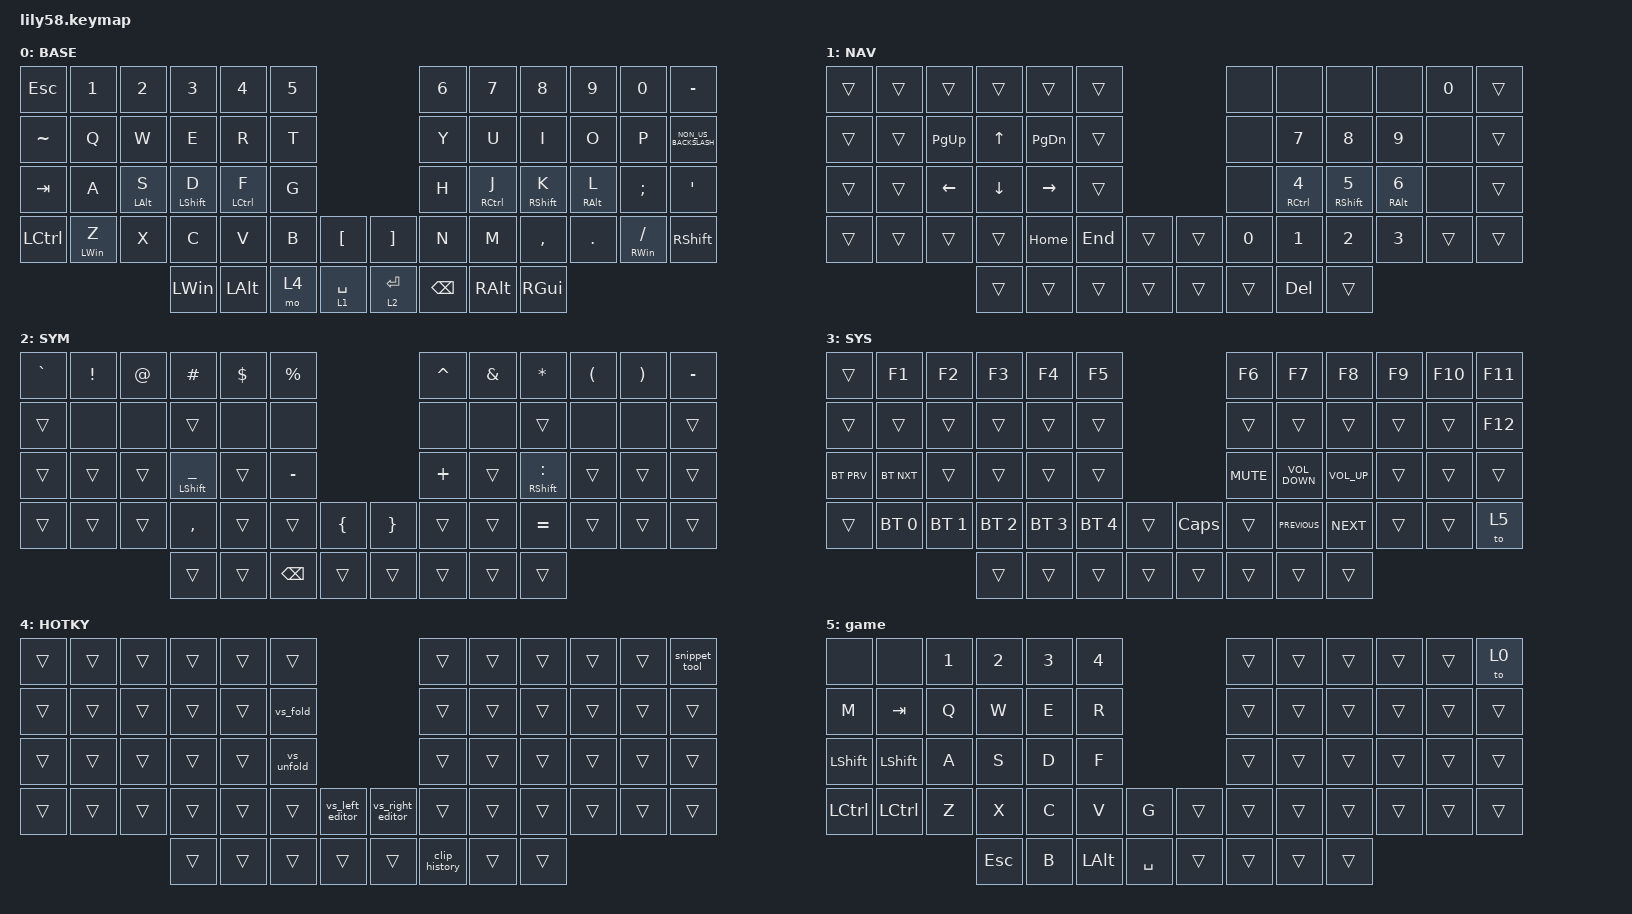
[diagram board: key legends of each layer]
/*
 * Copyright (c) 2020 The ZMK Contributors
 *
 * SPDX-License-Identifier: MIT
 */

#include <behaviors.dtsi>
#include <dt-bindings/zmk/bt.h>
#include <dt-bindings/zmk/keys.h>

#define default_layer 0
#define lower_layer 1
#define raise_layer 2
#define adjust_layer 3
#define extra_layer 4

/ {
    behaviors {
        hm: homerow_mods {
            compatible = "zmk,behavior-hold-tap";
            label = "HOMEROW_MODS";
            bindings = <&kp>, <&kp>;

            #binding-cells = <2>;
            tapping-term-ms = <300>;
            quick-tap-ms = <200>;
            require-prior-idle-ms = <90>;
            flavor = "balanced";
        };

        hm_shift_l: hm_shift_l {
            compatible = "zmk,behavior-hold-tap";
            label = "HM_SHIFT_L";
            bindings = <&kp>, <&kp>;

            #binding-cells = <2>;
            tapping-term-ms = <190>;
            quick-tap-ms = <150>;
            require-prior-idle-ms = <100>;
            flavor = "tap-preferred";
        };

        hm_shift_r: hm_shift_r {
            compatible = "zmk,behavior-hold-tap";
            label = "HM_SHIFT_R";
            bindings = <&kp>, <&kp>;

            #binding-cells = <2>;
            tapping-term-ms = <190>;
            quick-tap-ms = <150>;
            require-prior-idle-ms = <100>;
            flavor = "tap-preferred";
        };
    };

    combos {
        compatible = "zmk,combos";

        esc {
            bindings = <&kp ESCAPE>;
            key-positions = <42 43 53 54>;
        };

        bth_clear {
            bindings = <&bt BT_CLR>;
            key-positions = <50 51 52 53 54 55 56 57>;
        };

        c1 {
            bindings = <&kp LEFT_PARENTHESIS>;
            key-positions = <45 46>;
        };

        c2 {
            bindings = <&kp RIGHT_PARENTHESIS>;
            key-positions = <46 47>;
        };
    };

    macros {
        clip_history: clip_history {
            compatible = "zmk,behavior-macro";
            #binding-cells = <0>;
            bindings =
                <&macro_press>,
                <&kp LEFT_WIN>,
                <&macro_tap>,
                <&kp V>,
                <&macro_release>,
                <&kp LEFT_WIN>;

            label = "CLIP_HISTORY";
        };

        vs_left_editor: vs_left_editor {
            compatible = "zmk,behavior-macro";
            #binding-cells = <0>;
            bindings =
                <&macro_press>,
                <&kp LCTRL>,
                <&macro_tap>,
                <&kp K>,
                <&macro_tap>,
                <&kp LEFT_ARROW>,
                <&macro_release>,
                <&kp LEFT_CONTROL>;

            label = "VS_LEFT_EDITOR";
        };

        vs_right_editor: vs_right_editor {
            compatible = "zmk,behavior-macro";
            #binding-cells = <0>;
            bindings =
                <&macro_press>,
                <&kp LCTRL>,
                <&macro_tap>,
                <&kp K>,
                <&macro_tap>,
                <&kp RIGHT>,
                <&macro_release>,
                <&kp LEFT_CONTROL>;

            label = "VS_RIGHT_EDITOR";
        };

        vs_fold: vs_fold {
            compatible = "zmk,behavior-macro";
            #binding-cells = <0>;
            bindings =
                <&macro_press>,
                <&kp LCTRL &kp LEFT_SHIFT>,
                <&macro_tap>,
                <&kp LEFT_BRACKET>,
                <&macro_release>,
                <&kp LEFT_CONTROL &kp LEFT_SHIFT>;

            label = "VS_FOLD";
        };

        vs_unfold: vs_unfold {
            compatible = "zmk,behavior-macro";
            #binding-cells = <0>;
            bindings =
                <&macro_press>,
                <&kp LCTRL &kp LEFT_SHIFT>,
                <&macro_tap>,
                <&kp RIGHT_BRACKET>,
                <&macro_release>,
                <&kp LEFT_CONTROL &kp LEFT_SHIFT>;

            label = "VS_UNFOLD";
        };

        snippet_tool: snippet_tool {
            compatible = "zmk,behavior-macro";
            #binding-cells = <0>;
            bindings =
                <&macro_press>,
                <&kp LEFT_WIN &kp LEFT_SHIFT>,
                <&macro_tap>,
                <&kp S>,
                <&macro_release>,
                <&kp LEFT_WIN &kp LEFT_SHIFT>;

            label = "SNIPPET_TOOL";
        };

        open_terminal: open_terminal {
            compatible = "zmk,behavior-macro";
            #binding-cells = <0>;
            bindings =
                <&macro_press>,
                <&kp LEFT_WIN &kp X>,
                <&macro_release>,
                <&kp LEFT_WIN &kp X>,
                <&macro_tap>,
                <&kp I>;

            label = "OPEN_TERMINAL";
        };
    };

    keymap {
        compatible = "zmk,keymap";

        default_layer {
            display-name = "BASE";

            // ------------------------------------------------------------------------------------------------------------
            // |  ESC  |  1  |  2  |  3   |  4   |  5   |                   |  6   |  7    |  8    |  9   |   0   |   `   |
            // |  TAB  |  Q  |  W  |  E   |  R   |  T   |                   |  Y   |  U    |  I    |  O   |   P   |   -   |
            // |  CTRL |  A  |  S  |  D   |  F   |  G   |                   |  H   |  J    |  K    |  L   |   ;   |   '   |
            // | SHIFT |  Z  |  X  |  C   |  V   |  B   |   "["  |  |  "]"  |  N   |  M    |  ,    |  .   |   /   | SHIFT |
            //                     | ALT  | GUI  | LOWER|  SPACE |  | ENTER | RAISE| BSPC  | GUI   |

            bindings = <
&kp ESC           &kp N1          &kp N2          &kp N3                    &kp N4              &kp N5                               &kp N6         &kp N7               &kp N8                     &kp N9           &kp N0               &kp MINUS
&kp TILDE         &kp Q           &kp W           &kp E                     &kp R               &kp T                                &kp Y          &kp U                &kp I                      &kp O            &kp P                &kp NON_US_BACKSLASH
&kp TAB           &kp A           &hm LEFT_ALT S  &hm_shift_l LEFT_SHIFT D  &hm LEFT_CONTROL F  &kp G                                &kp H          &hm RIGHT_CONTROL J  &hm_shift_r RIGHT_SHIFT K  &hm RIGHT_ALT L  &kp SEMI             &kp SQT
&kp LEFT_CONTROL  &hm LEFT_WIN Z  &kp X           &kp C                     &kp V               &kp B   &kp LBKT       &kp RBKT      &kp N          &kp M                &kp COMMA                  &kp DOT          &hm RIGHT_WIN SLASH  &kp RSHFT
                                                  &kp LEFT_WIN              &kp LEFT_ALT        &mo 4   &lt 1 SPACE    &lt 2 RETURN  &kp BACKSPACE  &kp RIGHT_ALT        &kp RGUI
            >;
        };

        nav_layer {
            display-name = "NAV";

            // ------------------------------------------------------------------------------------------------------------
            // |       |     |     |      |      |      |                   |      |       |       |      |       |       |
            // |   `   |  1  |  2  |  3   |  4   |  5   |                   |  6   |   7   |   8   |  9   |   0   |       |
            // |   F1  |  F2 |  F3 |  F4  |  F5  |  F6  |                   |      |   <-  |   v   |  ^   |  ->   |       |
            // |   F7  |  F8 |  F9 |  F10 |  F11 |  F12 |        |  |       |  +   |   -   |   =   |  [   |   ]   |   \   |
            //                     |      |      |      |        |  |       |      |       |       |

            bindings = <
&trans  &trans  &trans       &trans    &trans         &trans                     &none   &none                       &none                             &none                   &kp NUMBER_0  &trans
&trans  &trans  &kp PAGE_UP  &kp UP    &kp PAGE_DOWN  &trans                     &none   &kp NUMBER_7                &kp NUMBER_8                      &kp N9                  &none         &trans
&trans  &trans  &kp LEFT     &kp DOWN  &kp RIGHT      &trans                     &none   &hm RIGHT_CONTROL NUMBER_4  &hm_shift_r RIGHT_SHIFT NUMBER_5  &hm RIGHT_ALT NUMBER_6  &none         &trans
&trans  &trans  &trans       &trans    &kp HOME       &kp END  &trans    &trans  &kp N0  &kp NUMBER_1                &kp NUMBER_2                      &kp NUMBER_3            &trans        &trans
                             &trans    &trans         &trans   &trans    &trans  &trans  &kp DEL                     &trans
            >;
        };

        symbol {
            bindings = <
&kp GRAVE  &kp EXCLAMATION  &kp AT_SIGN  &kp HASH                      &kp DOLLAR  &kp PERCENT                                       &kp CARET  &kp AMPERSAND  &kp ASTERISK                   &kp LEFT_PARENTHESIS  &kp RIGHT_PARENTHESIS  &kp MINUS
&trans     &none            &none        &trans                        &none       &none                                             &none      &none          &trans                         &none                 &none                  &trans
&trans     &trans           &trans       &hm_shift_l LEFT_SHIFT UNDER  &trans      &kp MINUS                                         &kp PLUS   &trans         &hm_shift_r RIGHT_SHIFT COLON  &trans                &trans                 &trans
&trans     &trans           &trans       &kp COMMA                     &trans      &trans         &kp LEFT_BRACE    &kp RIGHT_BRACE  &trans     &trans         &kp EQUAL                      &trans                &trans                 &trans
                                         &trans                        &trans      &kp BACKSPACE  &trans            &trans           &trans     &trans         &trans
            >;

            label = "SYM";
        };

        system {
            bindings = <
&trans      &kp F1        &kp F2        &kp F3        &kp F4        &kp F5                                &kp F6      &kp F7             &kp F8           &kp F9  &kp F10  &kp F11
&trans      &trans        &trans        &trans        &trans        &trans                                &trans      &trans             &trans           &trans  &trans   &kp F12
&bt BT_PRV  &bt BT_NXT    &trans        &trans        &trans        &trans                                &kp C_MUTE  &kp C_VOLUME_DOWN  &kp C_VOLUME_UP  &trans  &trans   &trans
&trans      &bt BT_SEL 0  &bt BT_SEL 1  &bt BT_SEL 2  &bt BT_SEL 3  &bt BT_SEL 4  &trans    &kp CAPSLOCK  &trans      &kp C_PREVIOUS     &kp C_NEXT       &trans  &trans   &to 5
                                        &trans        &trans        &trans        &trans    &trans        &trans      &trans             &trans
            >;

            label = "SYS";
        };

        hot_key {
            bindings = <
&trans  &trans  &trans  &trans  &trans  &trans                                           &trans         &trans  &trans  &trans  &trans  &snippet_tool
&trans  &trans  &trans  &trans  &trans  &vs_fold                                         &trans         &trans  &trans  &trans  &trans  &trans
&trans  &trans  &trans  &trans  &trans  &vs_unfold                                       &trans         &trans  &trans  &trans  &trans  &trans
&trans  &trans  &trans  &trans  &trans  &trans      &vs_left_editor    &vs_right_editor  &trans         &trans  &trans  &trans  &trans  &trans
                        &trans  &trans  &trans      &trans             &trans            &clip_history  &trans  &trans
            >;

            label = "HOTKY";
        };

        game {
            bindings = <
&none      &none      &kp N1  &kp N2   &kp N3  &kp N4                         &trans  &trans  &trans  &trans  &trans  &to 0
&kp M      &kp TAB    &kp Q   &kp W    &kp E   &kp R                          &trans  &trans  &trans  &trans  &trans  &trans
&kp LSHFT  &kp LSHFT  &kp A   &kp S    &kp D   &kp F                          &trans  &trans  &trans  &trans  &trans  &trans
&kp LCTRL  &kp LCTRL  &kp Z   &kp X    &kp C   &kp V     &kp G        &trans  &trans  &trans  &trans  &trans  &trans  &trans
                              &kp ESC  &kp B   &kp LALT  &kp SPACE    &trans  &trans  &trans  &trans
            >;
        };
    };

    conditional_layers {
        compatible = "zmk,conditional-layers";

        sys {
            if-layers = <1 2>;
            then-layer = <3>;
        };
    };
};
